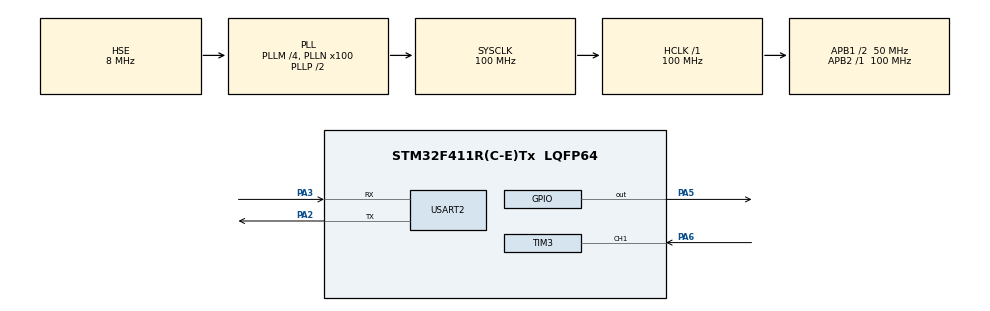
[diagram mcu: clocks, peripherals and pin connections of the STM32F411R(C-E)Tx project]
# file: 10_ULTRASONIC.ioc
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Mcu.Family=STM32F4
Mcu.Name=STM32F411R(C-E)Tx
Mcu.Package=LQFP64
NVIC.PriorityGroup=NVIC_PRIORITYGROUP_4
NVIC.TIM3_IRQn=true\:0\:0\:false\:false\:true\:true\:true\:true
NVIC.USART2_IRQn=true\:0\:0\:false\:false\:true\:true\:true\:true
PA13.Mode=Serial_Wire
PA13.Signal=SYS_JTMS-SWDIO
PA14.Mode=Serial_Wire
PA14.Signal=SYS_JTCK-SWCLK
PA2.Mode=Asynchronous
PA2.Signal=USART2_TX
PA3.Mode=Asynchronous
PA3.Signal=USART2_RX
PA5.Signal=GPIO_Output
PA6.Signal=S_TIM3_CH1
PH0\ -\ OSC_IN.Mode=HSE-External-Clock-Source
PH0\ -\ OSC_IN.Signal=RCC_OSC_IN
PH1\ -\ OSC_OUT.Mode=HSE-External-Clock-Source
PH1\ -\ OSC_OUT.Signal=RCC_OSC_OUT
ProjectManager.HeapSize=0x200
ProjectManager.StackSize=0x400
ProjectManager.TargetToolchain=STM32CubeIDE
RCC.48MHZClocksFreq_Value=50000000
RCC.AHBFreq_Value=100000000
RCC.APB1CLKDivider=RCC_HCLK_DIV2
RCC.APB1Freq_Value=50000000
RCC.APB1TimFreq_Value=100000000
RCC.APB2Freq_Value=100000000
RCC.APB2TimFreq_Value=100000000
RCC.CortexFreq_Value=100000000
RCC.HCLKFreq_Value=100000000
RCC.HSE_VALUE=8000000
RCC.HSI_VALUE=16000000
RCC.LSE_VALUE=32768
RCC.PLLM=4
RCC.PLLN=100
RCC.PLLSourceVirtual=RCC_PLLSOURCE_HSE
RCC.SYSCLKFreq_VALUE=100000000
RCC.SYSCLKSource=RCC_SYSCLKSOURCE_PLLCLK
RCC.VCOOutputFreq_Value=200000000
SH.S_TIM3_CH1.0=TIM3_CH1,Input_Capture1_from_TI1
TIM11.Prescaler=100-1
TIM3.Channel-Input_Capture1_from_TI1=TIM_CHANNEL_1
TIM3.Prescaler=100-1
USART2.VirtualMode=VM_ASYNC
VP_TIM11_VS_ClockSourceINT.Mode=Enable_Timer
VP_TIM3_VS_ClockSourceINT.Mode=Internal
board=custom

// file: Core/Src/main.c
/* USER CODE BEGIN Header */
/**
  ******************************************************************************
  * @file           : main.c
  * @brief          : Main program body
  ******************************************************************************
  * @attention
  *
  * Copyright (c) 2026 STMicroelectronics.
  * All rights reserved.
  *
  * This software is licensed under terms that can be found in the LICENSE file
  * in the root directory of this software component.
  * If no LICENSE file comes with this software, it is provided AS-IS.
  *
  ******************************************************************************
  */
/* USER CODE END Header */
#include "main.h"
#include "tim.h"
#include "usart.h"
#include "gpio.h"

/* USER CODE BEGIN Includes */

#include "stdio.h"
#include "delay.h"

/* USER CODE END Includes */

/* USER CODE BEGIN PD */

#define TRIG_PORT GPIOA
#define TRIG_PIN  GPIO_PIN_5

/* USER CODE END PD */

/* USER CODE BEGIN PM */

#ifdef __GNUC__
/* With GCC small printf (option LD Linker->Libraries->Small printf
 * set to 'Yes') calls __io_putchar() */
#define PUTCHAR_PROTOTYPE int  __io_putchar(int ch)
#else
#define PUTCHAR_PROTOTYPE int  fputc(int ch, FILE *f)
#endif /* __GNUC__*/

/** @brief Retargets the C library printf function to the USART.
 *  @param None
 *  @retval None
 */
PUTCHAR_PROTOTYPE
{
  /* Place your implementation of fputc here */
  /* e.g. write a character to the USART2 and Loop
     until the end of transmission */
  if(ch == '\n')
    HAL_UART_Transmit(&huart2, (uint8_t*) "\r", 1, 0xFFFF);
    HAL_UART_Transmit(&huart2, (uint8_t*) &ch, 1, 0xFFFF);
}

/* USER CODE END PM */

/* USER CODE BEGIN PV */

uint16_t IC_Value1 = 0;       // Echo Pin Rising Check
uint16_t IC_Value2 = 0;       // Echo Pin Falling Check

uint16_t echoTime = 0;        // Echo Pin High Pulse Time
uint16_t captureFlag = 0;
uint8_t  distance = 0;

/* USER CODE END PV */

void SystemClock_Config(void);
/* USER CODE BEGIN PFP */

void HCSR04_TRG(void)
{
  HAL_GPIO_WritePin(TRIG_PORT, TRIG_PIN, GPIO_PIN_RESET);
  delay_us(1);
  HAL_GPIO_WritePin(TRIG_PORT, TRIG_PIN, GPIO_PIN_SET);
  delay_us(10);
  HAL_GPIO_WritePin(TRIG_PORT, TRIG_PIN, GPIO_PIN_RESET);

  __HAL_TIM_ENABLE_IT(&htim3, TIM_IT_CC1);
}

void HAL_TIM_IC_CaptureCallback(TIM_HandleTypeDef *htim)
{
  if(htim->Channel == HAL_TIM_ACTIVE_CHANNEL_1)
  {
    if(captureFlag == 0)
    {
      IC_Value1 = HAL_TIM_ReadCapturedValue(htim, TIM_CHANNEL_1);
      captureFlag = 1;
      __HAL_TIM_SET_CAPTUREPOLARITY(htim, TIM_CHANNEL_1, TIM_INPUTCHANNELPOLARITY_FALLING);
    }
    else if(captureFlag == 1)
    {
      IC_Value2 = HAL_TIM_ReadCapturedValue(htim, TIM_CHANNEL_1);
      __HAL_TIM_SET_COUNTER(htim, 0);

      if(IC_Value2 > IC_Value1)
      {
        echoTime = IC_Value2 - IC_Value1;
      }
      else if(IC_Value1 > IC_Value2)
      {
        echoTime = (0xffff - IC_Value1) + IC_Value2;
      }

      distance = echoTime/58;

      captureFlag = 0;
      __HAL_TIM_SET_CAPTUREPOLARITY(htim, TIM_CHANNEL_1,TIM_INPUTCHANNELPOLARITY_RISING);\
      __HAL_TIM_DISABLE_IT(htim, TIM_IT_CC1);
    }
  }
}

/* USER CODE END PFP */

int main(void)
{

  /* MCU Configuration--------------------------------------------------------*/

  /* Reset of all peripherals, Initializes the Flash interface and the Systick. */
  HAL_Init();

  /* Configure the system clock */
  SystemClock_Config();

  /* Initialize all configured peripherals */
  MX_GPIO_Init();
  MX_USART2_UART_Init();
  MX_TIM11_Init();
  MX_TIM3_Init();
  /* USER CODE BEGIN 2 */

  HAL_TIM_Base_Start(&htim11);                  // for delay_us function
  HAL_TIM_IC_Start_IT(&htim3, TIM_CHANNEL_1);   // for Ultrasonic Timer

  /* USER CODE END 2 */

  /* Infinite loop */
  /* USER CODE BEGIN WHILE */
  while (1)
  {

    HCSR04_TRG();
    printf(" %d cm\r\n",distance);
    HAL_Delay(500);

    /* USER CODE END WHILE */

  }
}

void SystemClock_Config(void)
{
  RCC_OscInitTypeDef RCC_OscInitStruct = {0};
  RCC_ClkInitTypeDef RCC_ClkInitStruct = {0};

  /** Configure the main internal regulator output voltage
  */
  __HAL_RCC_PWR_CLK_ENABLE();
  __HAL_PWR_VOLTAGESCALING_CONFIG(PWR_REGULATOR_VOLTAGE_SCALE1);

  /** Initializes the RCC Oscillators according to the specified parameters
  * in the RCC_OscInitTypeDef structure.
  */
  RCC_OscInitStruct.OscillatorType = RCC_OSCILLATORTYPE_HSE;
  RCC_OscInitStruct.HSEState = RCC_HSE_BYPASS;
  RCC_OscInitStruct.PLL.PLLState = RCC_PLL_ON;
  RCC_OscInitStruct.PLL.PLLSource = RCC_PLLSOURCE_HSE;
  RCC_OscInitStruct.PLL.PLLM = 4;
  RCC_OscInitStruct.PLL.PLLN = 100;
  RCC_OscInitStruct.PLL.PLLP = RCC_PLLP_DIV2;
  RCC_OscInitStruct.PLL.PLLQ = 4;
  if (HAL_RCC_OscConfig(&RCC_OscInitStruct) != HAL_OK)
  {
    Error_Handler();
  }

  /** Initializes the CPU, AHB and APB buses clocks
  */
  RCC_ClkInitStruct.ClockType = RCC_CLOCKTYPE_HCLK|RCC_CLOCKTYPE_SYSCLK
                              |RCC_CLOCKTYPE_PCLK1|RCC_CLOCKTYPE_PCLK2;
  RCC_ClkInitStruct.SYSCLKSource = RCC_SYSCLKSOURCE_PLLCLK;
  RCC_ClkInitStruct.AHBCLKDivider = RCC_SYSCLK_DIV1;
  RCC_ClkInitStruct.APB1CLKDivider = RCC_HCLK_DIV2;
  RCC_ClkInitStruct.APB2CLKDivider = RCC_HCLK_DIV1;

  if (HAL_RCC_ClockConfig(&RCC_ClkInitStruct, FLASH_LATENCY_3) != HAL_OK)
  {
    Error_Handler();
  }
}

void Error_Handler(void)
{
  __disable_irq();
  while (1)
  {
  }
}
